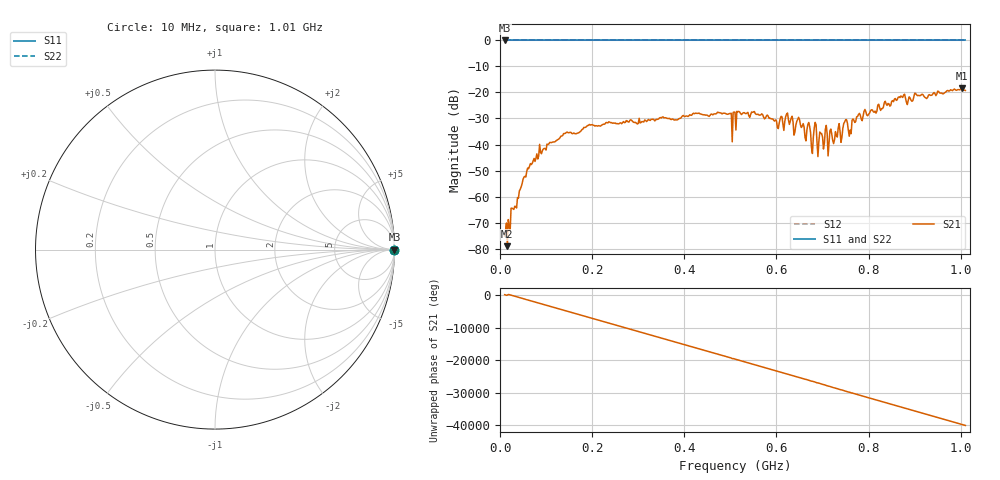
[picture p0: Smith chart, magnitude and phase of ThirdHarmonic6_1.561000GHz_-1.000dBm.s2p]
! 8/16/2025 6:32:58 PM
! C:\ANRITSUVNA\TEMP\TEMP.S2P
! CHANNEL.1
! TR.MEASUREMENT
! RAW.DATA
! RF.CORRECTION.OFF
! AVERAGING.OFF
! IF.BANDWIDTH: 5KHZ
! SWEEPTYPE:  FREQ.SWEEP(Linear)
! Reference Plane Port Info
! PORT:  PORT1  PORT2
! DISTANCE:  0  m  0  m
! TIME:  0  s  0  s
! PHASE.OFFSET:  0  deg.  0  deg.
! LOSS:  0  dB  0  dB
! REF.LOSS:  0  dB  0  dB
! REF.FREQ:  0  Hz  0  Hz
! Power Info
! POWER:  -20  dBm  -20  dBm
! EFF.POWER:  -20  dBm  -20  dBm
! SOURCE.ATTEN:  0  dB  0  dB
! TEST.ATTEN:  0  dB  0  dB
# GHZ S RI R 50.0
! FREQ.GHZ  S11RE  S11IM  S21RE  S21IM  S12RE  S12IM  S22RE  S22IM
!; PortSelection: Port_12
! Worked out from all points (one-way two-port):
!   501 points, 10 MHz to 1.01 GHz, reference 50 ohm
!   highest |S21| = -18.45 dB at 1.002 GHz (marker M1); lowest = -79.1 dB at 16 MHz (marker M2)
!   lowest |S11| = 0.0 dB at 10 MHz (marker M3)
!   |S11| at or under -10 dB: nowhere
!   |S22| runs from 0.0 to 0.0 dB; largest |S21 - S12| = 1.1
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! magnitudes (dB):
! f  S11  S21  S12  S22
! 10 MHz  0.0  -75.2  0.0  0.0
! 16 MHz  0.0  -79.1  0.0  0.0
! 50 MHz  0.0  -53.4  0.0  0.0
! 82 MHz  0.0  -45.6  0.0  0.0
! 178 MHz  0.0  -34.2  0.0  0.0
! 344 MHz  0.0  -30.2  0.0  0.0
! 510 MHz  0.0  -27.6  0.0  0.0
! 622 MHz  0.0  -28.3  0.0  0.0
! 640 MHz  0.0  -35.2  0.0  0.0
! 648 MHz  0.0  -29.6  0.0  0.0
! 662 MHz  0.0  -37.3  0.0  0.0
! 670 MHz  0.0  -31.5  0.0  0.0
! 678 MHz  0.0  -43.4  0.0  0.0
! 684 MHz  0.0  -31.5  0.0  0.0
! 692 MHz  0.0  -38.9  0.0  0.0
! 726 MHz  0.0  -38.2  0.0  0.0
! 750 MHz  0.0  -30.5  0.0  0.0
! 758 MHz  0.0  -36.8  0.0  0.0
! 778 MHz  0.0  -28.5  0.0  0.0
! 844 MHz  0.0  -24.3  0.0  0.0
! 1.002 GHz  0.0  -18.5  0.0  0.0
! 1.01 GHz  0.0  -19.2  0.0  0.0
